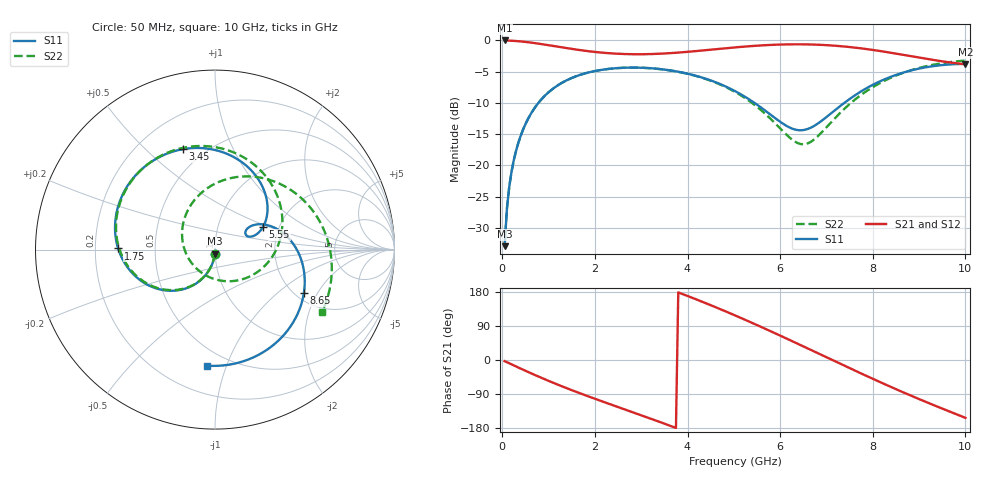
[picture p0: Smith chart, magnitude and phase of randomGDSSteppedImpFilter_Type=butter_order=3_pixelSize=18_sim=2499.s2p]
! freq	dB(S11)	phase(S11)	dB(S12)	phase(S12)
!  dB(S21)	phase(S21)	dB(S22)	phase(S22)
!S-par simulation data
#  GHz  S  DB  R 50
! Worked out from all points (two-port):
!   200 points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, 50 MHz to 10 GHz, reference 50 ohm
!   highest |S21| = -0.01 dB at 50 MHz (marker M1); lowest = -3.8 dB at 10 GHz (marker M2)
!   |S21| within 3 dB of the highest: start of sweep to 9.207 GHz
!   lowest |S11| = -33.0 dB at 50 MHz (marker M3), VSWR 1.05, Z = 49.8 - j2.24 ohm
!   |S11| at or under -10 dB: start of sweep to 780.5 MHz; 5.444 GHz to 7.386 GHz (1.942 GHz wide, 30.3 % of centre)
!   |S22| runs from -32.9 to -3.2 dB; largest |S21 - S12| = 0
!   S11 on the Smith chart (normalised r, x): 50 MHz: 1.00, -0.04; 1.75 GHz: 0.30, +0.01; 3.45 GHz: 0.39, +0.66; 5.55 GHz: 1.65, +0.46; 8.65 GHz: 2.21, -1.55; 10 GHz: 0.38, -0.86
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0.05  -32.95 -92.9  -0.01 -2.9  -0.01 -2.9  -32.94 -92.9
0.1  -26.95 -96.0  -0.02 -5.8  -0.02 -5.8  -26.95 -96.0
0.2  -20.99 -101.9  -0.05 -11.6  -0.05 -11.6  -21.02 -102.0
0.5  -13.41 -118.7  -0.24 -28.4  -0.24 -28.4  -13.41 -119.2
1.1  -7.70 -150.2  -0.89 -60.2  -0.89 -60.2  -7.70 -151.3
1.75  -5.36 179.3  -1.63 -91.1  -1.63 -91.1  -5.36 177.3
2.5  -4.43 147.1  -2.14 -124.2  -2.14 -124.2  -4.43 143.6
3.4  -4.58 109.6  -2.13 -163.5  -2.13 -163.5  -4.59 102.9
3.45  -4.63 107.6  -2.12 -165.7  -2.12 -165.7  -4.64 100.5
4.3  -5.92 71.8  -1.63 154.6  -1.63 154.6  -5.95 58.0
5.05  -8.21 41.4  -1.10 116.4  -1.10 116.4  -8.35 14.2
5.55  -10.55 25.4  -0.82 89.5  -0.82 89.5  -10.93 -21.2
6.1  -13.52 20.0  -0.64 58.8  -0.64 58.8  -14.83 -74.8
6.4  -14.38 25.3  -0.62 41.7  -0.62 41.7  -16.50 -117.3
6.7  -13.83 31.8  -0.66 24.5  -0.66 24.5  -16.06 -165.0
7.05  -11.98 32.6  -0.78 4.4  -0.78 4.4  -13.50 150.0
7.45  -9.65 24.0  -1.02 -18.6  -1.02 -18.6  -10.52 112.9
7.9  -7.51 7.5  -1.42 -44.0  -1.42 -44.0  -7.95 79.9
8.35  -5.94 -12.2  -1.93 -68.9  -1.93 -68.9  -6.12 51.6
8.65  -5.17 -26.2  -2.30 -84.9  -2.30 -84.9  -5.21 34.5
9.3  -4.12 -57.8  -3.12 -118.3  -3.12 -118.3  -3.90 1.1
10  -3.77 -94.1  -3.83 -152.6  -3.83 -152.6  -3.23 -30.1
